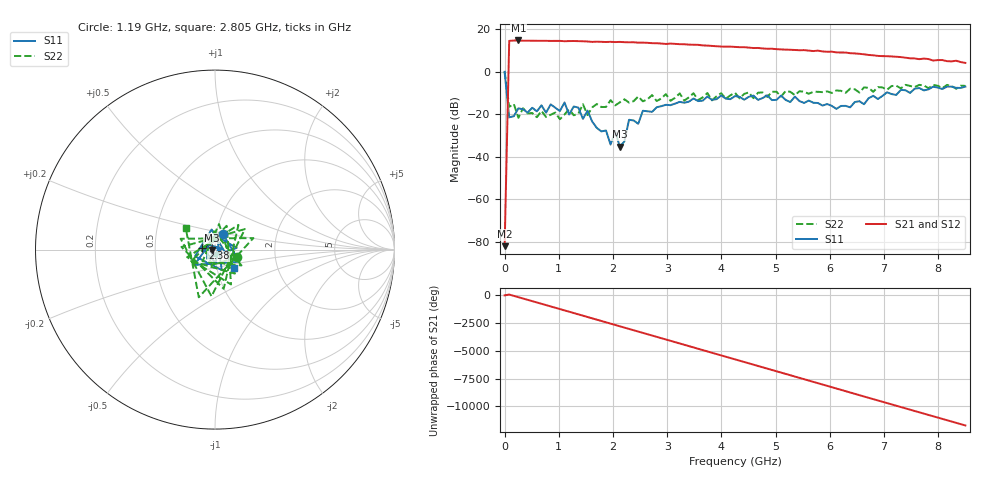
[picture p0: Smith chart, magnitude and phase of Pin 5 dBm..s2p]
! RsaToolbox (C) 2013 Rohde & Schwarz America
! Number of points: 101
! Number of ports: 2
! Balanced ports?: 0
# Hz S RI R 50
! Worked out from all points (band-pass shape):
!   101 points, 9 kHz to 8.5 GHz, reference 50 ohm
!   highest |S21| = 14.62 dB at 255 MHz (marker M1); lowest = -81.9 dB at 9 kHz (marker M2)
!   |S21| within 3 dB of the highest: 82.54 MHz to 4.234 GHz (4.151 GHz wide, 192 % of centre)
!   lowest |S11| = -35.3 dB at 2.125 GHz (marker M3), VSWR 1.04, Z = 48.3 - j0.189 ohm
!   |S11| at or under -10 dB: 39.44 MHz to 7.041 GHz (7.001 GHz wide, 198 % of centre); 7.084 GHz to 7.259 GHz (174.8 MHz wide, 2.44 % of centre); 7.478528 GHz to 7.480929 GHz (2.401 MHz wide, 0.0321 % of centre)
!   |S22| runs from -22.4 to 0.0 dB; largest |S21 - S12| = 0
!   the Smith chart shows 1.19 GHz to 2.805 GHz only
!   S11 on the Smith chart (normalised r, x): 1.19 GHz: 1.07, +0.19; 2.38 GHz: 0.87, +0.01; 2.805 GHz: 1.21, -0.25
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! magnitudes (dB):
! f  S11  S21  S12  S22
! 9 kHz  -0.1  -81.9  -81.9  0.0
! 85.01 MHz  -21.5  14.4  14.4  -16.6
! 170 MHz  -20.9  14.6  14.6  -15.2
! 255 MHz  -17.2  14.6  14.6  -21.7
! 340 MHz  -17.7  14.5  14.5  -17.2
! 1.105 GHz  -14.5  14.3  14.3  -20.1
! 1.19 GHz  -20.2  14.3  14.3  -17.6
! 1.36 GHz  -16.9  14.3  14.3  -19.8
! 1.445 GHz  -22.2  14.2  14.2  -15.3
! 1.53 GHz  -18.3  14.1  14.1  -20.4
! 1.955 GHz  -34.2  14.0  14.0  -13.4
! 2.04 GHz  -27.9  13.9  13.9  -15.9
! 2.125 GHz  -35.3  13.9  13.9  -14.4
! 2.295 GHz  -22.6  13.7  13.7  -14.5
! 2.38 GHz  -22.9  13.8  13.8  -13.9
! 2.805 GHz  -16.7  13.3  13.3  -13.8
! 2.89 GHz  -16.2  13.2  13.2  -12.7
! 4.25 GHz  -11.5  11.6  11.6  -9.9
! 5.695 GHz  -14.6  9.6  9.6  -9.5
! 6.12 GHz  -17.5  9.0  9.0  -8.8
! 7.14 GHz  -10.5  7.1  7.1  -6.8
! 8.5 GHz  -7.1  4.1  4.1  -6.7
